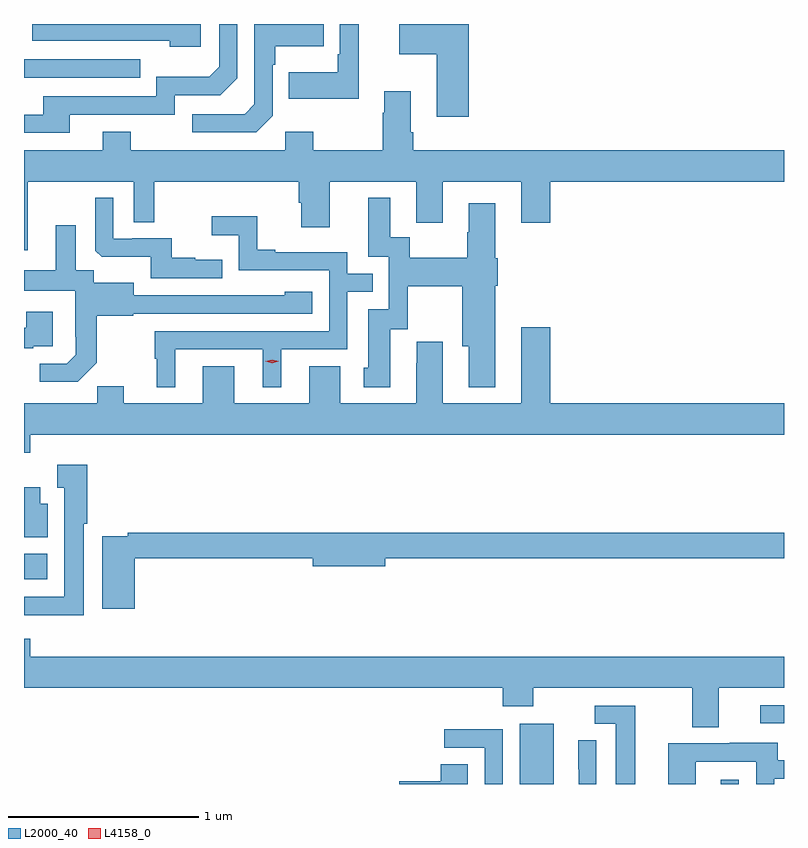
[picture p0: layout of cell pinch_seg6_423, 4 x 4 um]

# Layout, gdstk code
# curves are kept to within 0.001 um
import gdstk
lib = gdstk.Library(unit=1e-6, precision=1e-09)
def R(c, l, rs):  # rectangles x0, y0, x1, y1
    for r in rs: c.add(gdstk.rectangle(r[:2], r[2:], *l))
def P(c, l, *ps):  # polygons
    for p in ps: c.add(gdstk.Polygon(p, *l))
L2000_40 = (2000, 40)
L4158_0 = (4158, 0)

pinch_seg6_423 = lib.new_cell('pinch_seg6_423')
R(pinch_seg6_423, L2000_40, [(710.555,930.845,710.734,931.162), (711.611,930.845,711.708,930.868), (711.819,931.164,711.945,931.26), (707.945,931.922,708.067,932.056), (707.945,934.563,708.557,934.659)])
P(pinch_seg6_423, L2000_40, [(710.285,934.845),(710.117,934.845),(710.117,934.843),(709.92,934.843),(709.92,934.685),(710.117,934.685),(710.117,934.356),(710.285,934.356)],
  [(709.706,934.845),(709.608,934.845),(709.608,934.687),(709.596,934.687),(709.596,934.591),(709.339,934.591),(709.339,934.451),(709.706,934.451)],
  [(708.874,934.845),(707.988,934.845),(707.988,934.758),(708.713,934.758),(708.713,934.724),(708.874,934.724)],
  [(708.187,934.368),(708.738,934.368),(708.738,934.47),(708.978,934.47),(709.068,934.56),(709.068,934.845),(708.972,934.845),(708.972,934.62),(708.919,934.567),(708.642,934.567),(708.642,934.464),(708.047,934.464),(708.047,934.368),(707.945,934.368),(707.945,934.272),(708.187,934.272)],
  [(709.254,934.362),(709.254,934.631),(709.267,934.631),(709.267,934.727),(709.523,934.727),(709.523,934.845),(709.158,934.845),(709.158,934.422),(709.107,934.371),(708.831,934.371),(708.831,934.275),(709.167,934.275)],
  [(707.965,934.016),(708.522,934.016),(708.522,933.802),(708.631,933.802),(708.631,934.016),(709.391,934.016),(709.391,933.903),(709.403,933.903),(709.403,933.774),(709.555,933.774),(709.555,934.016),(710.009,934.016),(710.009,933.798),(710.149,933.798),(710.149,934.016),(710.561,934.016),(710.561,933.798),(710.714,933.798),(710.714,934.016),(711.945,934.016),(711.945,934.18),(709.994,934.18),(709.994,934.276),(709.981,934.276),(709.981,934.492),(709.841,934.492),(709.841,934.379),(709.834,934.379),(709.834,934.18),(709.467,934.18),(709.467,934.279),(709.32,934.279),(709.32,934.18),(708.507,934.18),(708.507,934.279),(708.359,934.279),(708.359,934.18),(707.945,934.18),(707.945,933.654),(707.965,933.654)],
  [(708.989,933.604),(708.845,933.604),(708.845,933.616),(708.722,933.616),(708.722,933.717),(708.514,933.717),(708.514,933.714),(708.414,933.714),(708.414,933.931),(708.321,933.931),(708.321,933.651),(708.353,933.62),(708.612,933.62),(708.612,933.507),(708.989,933.507)],
  [(710.425,933.468),(710.438,933.468),(710.438,933.612),(710.425,933.612),(710.425,933.901),(710.285,933.901),(710.285,933.75),(710.278,933.75),(710.278,933.616),(709.975,933.616),(709.975,933.722),(709.873,933.722),(709.873,933.931),(709.757,933.931),(709.757,933.621),(709.866,933.621),(709.866,933.345),(709.757,933.345),(709.757,933.036),(709.733,933.036),(709.733,932.934),(709.873,932.934),(709.873,933.239),(709.966,933.239),(709.966,933.464),(710.252,933.464),(710.252,933.149),(710.285,933.149),(710.285,932.933),(710.425,932.933)],
  [(708.742,933.132),(709.202,933.132),(709.202,932.933),(709.3,932.933),(709.3,933.132),(709.647,933.132),(709.647,933.435),(709.781,933.435),(709.781,933.531),(709.647,933.531),(709.647,933.645),(709.267,933.645),(709.267,933.658),(709.173,933.658),(709.173,933.833),(708.933,933.833),(708.933,933.734),(709.074,933.734),(709.074,933.549),(709.551,933.549),(709.551,933.228),(708.633,933.228),(708.633,933.084),(708.644,933.084),(708.644,932.933),(708.742,932.933)],
  [(708.327,933.063),(708.327,933.309),(708.519,933.309),(708.519,933.321),(709.462,933.321),(709.462,933.436),(709.317,933.436),(709.317,933.418),(708.523,933.417),(708.523,933.484),(708.312,933.484),(708.312,933.548),(708.217,933.548),(708.217,933.787),(708.113,933.787),(708.113,933.55),(707.945,933.55),(707.945,933.44),(708.216,933.44),(708.216,933.199),(708.218,933.199),(708.218,933.104),(708.171,933.057),(708.027,933.057),(708.027,932.963),(708.227,932.963)],
  [(707.993,933.15),(708.097,933.15),(708.097,933.331),(707.957,933.331),(707.957,933.246),(707.945,933.246),(707.945,933.138),(707.993,933.138)],
  [(707.978,932.684),(711.945,932.684),(711.945,932.848),(710.714,932.848),(710.714,933.25),(710.561,933.25),(710.561,932.848),(710.149,932.848),(710.149,933.172),(710.011,933.172),(710.011,933.059),(710.009,933.059),(710.009,932.848),(709.609,932.848),(709.609,933.043),(709.445,933.043),(709.445,932.848),(709.051,932.848),(709.051,933.043),(708.887,933.043),(708.887,932.848),(708.469,932.848),(708.469,932.939),(708.331,932.939),(708.331,932.848),(707.945,932.848),(707.945,932.589),(707.978,932.589)],
  [(708.259,932.215),(708.277,932.215),(708.277,932.524),(708.119,932.524),(708.119,932.403),(708.158,932.403),(708.158,931.83),(707.945,931.83),(707.945,931.734),(708.036,931.734),(708.036,931.733),(708.259,931.733)],
  [(708.07,932.32),(708.031,932.32),(708.031,932.407),(707.945,932.407),(707.945,932.144),(708.07,932.144)],
  [(708.527,932.032),(709.466,932.032),(709.466,931.99),(709.846,931.99),(709.846,932.032),(711.945,932.032),(711.945,932.168),(708.49,932.168),(708.49,932.148),(708.356,932.148),(708.356,931.767),(708.527,931.767)],
  [(711.601,931.352),(711.945,931.352),(711.945,931.516),(707.978,931.516),(707.978,931.609),(707.945,931.609),(707.945,931.352),(710.465,931.352),(710.465,931.253),(710.625,931.253),(710.625,931.352),(711.461,931.352),(711.461,931.144),(711.601,931.144)],
  [(711.163,931.257),(710.949,931.257),(710.949,931.161),(711.059,931.161),(711.059,930.845),(711.163,930.845)],
  [(710.466,931.134),(710.157,931.134),(710.157,931.035),(710.37,931.035),(710.37,930.845),(710.466,930.845)],
  [(710.958,931.076),(710.862,931.076),(710.862,930.922),(710.864,930.922),(710.864,930.845),(710.958,930.845)],
  [(711.48,930.963),(711.798,930.963),(711.798,930.845),(711.894,930.845),(711.894,930.873),(711.945,930.873),(711.945,930.969),(711.913,930.969),(711.913,931.063),(711.659,931.063),(711.659,931.059),(711.335,931.059),(711.335,930.845),(711.48,930.845)],
  [(710.281,930.95),(710.138,930.95),(710.138,930.86),(709.92,930.86),(709.92,930.845),(710.281,930.845)])
P(pinch_seg6_423, L4158_0, [(709.251,933.059),(709.216,933.069),(709.215,933.069),(709.216,933.069),(709.251,933.079),(709.286,933.069),(709.286,933.069),(709.286,933.069)])

lib.write_gds('pinch_seg6_423.gds')
